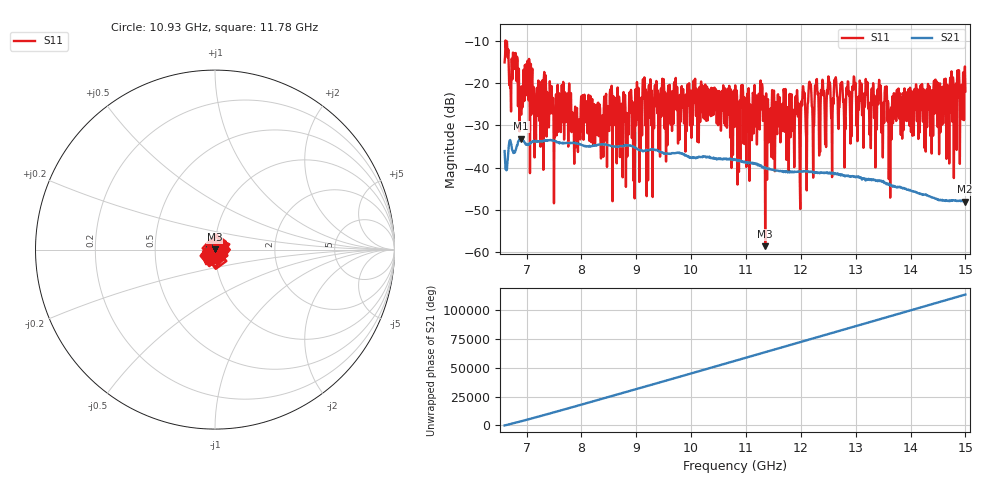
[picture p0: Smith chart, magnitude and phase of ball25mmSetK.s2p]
!Keysight Technologies,N5235B,MY61252044,A.15.00.15
!Date: Friday, January 20, 2023 23:00:32
!Correction: S11(Off)
!S21(Off)
!S12(Off)
!S22(Off)
!S2P File: Measurements: S11, S21, S12, S22:
# Hz S  RI  R 50
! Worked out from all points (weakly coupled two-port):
!   1000 points, 6.6 GHz to 15 GHz, reference 50 ohm
!   highest |S21| = -33.09 dB at 6.903 GHz (marker M1); lowest = -48.0 dB at 14.99 GHz (marker M2)
!   lowest |S11| = -58.5 dB at 11.35 GHz (marker M3), VSWR 1.00, Z = 50 + j0.107 ohm
!   |S11| at or under -10 dB: start of sweep to 6.616613 GHz; 6.617 GHz to end of sweep
!   S12 and S22 are empty: the file has one direction only
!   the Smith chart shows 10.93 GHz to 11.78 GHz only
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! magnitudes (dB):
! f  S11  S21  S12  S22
! 6.6 GHz  -15.1  -36.1  -  -
! 6.701 GHz  -21.2  -33.4  -  -
! 6.793 GHz  -16.6  -36.2  -  -
! 6.903 GHz  -27.5  -33.1  -  -
! 7.012 GHz  -22.0  -34.5  -  -
! 7.155 GHz  -25.7  -33.7  -  -
! 8.004 GHz  -28.2  -34.6  -  -
! 9.4 GHz  -23.1  -36.0  -  -
! 10.8 GHz  -20.5  -38.2  -  -
! 11.3 GHz  -21.2  -39.9  -  -
! 11.35 GHz  -58.5  -39.9  -  -
! 11.93 GHz  -21.6  -40.9  -  -
! 11.98 GHz  -42.9  -40.9  -  -
! 12.17 GHz  -20.5  -40.9  -  -
! 12.2 GHz  -25.4  -40.9  -  -
! 12.97 GHz  -18.6  -42.0  -  -
! 13.27 GHz  -28.6  -42.7  -  -
! 13.55 GHz  -24.1  -43.8  -  -
! 13.6 GHz  -42.7  -44.0  -  -
! 13.74 GHz  -28.9  -44.6  -  -
! 14.99 GHz  -16.1  -48.0  -  -
! 15 GHz  -21.9  -47.9  -  -
